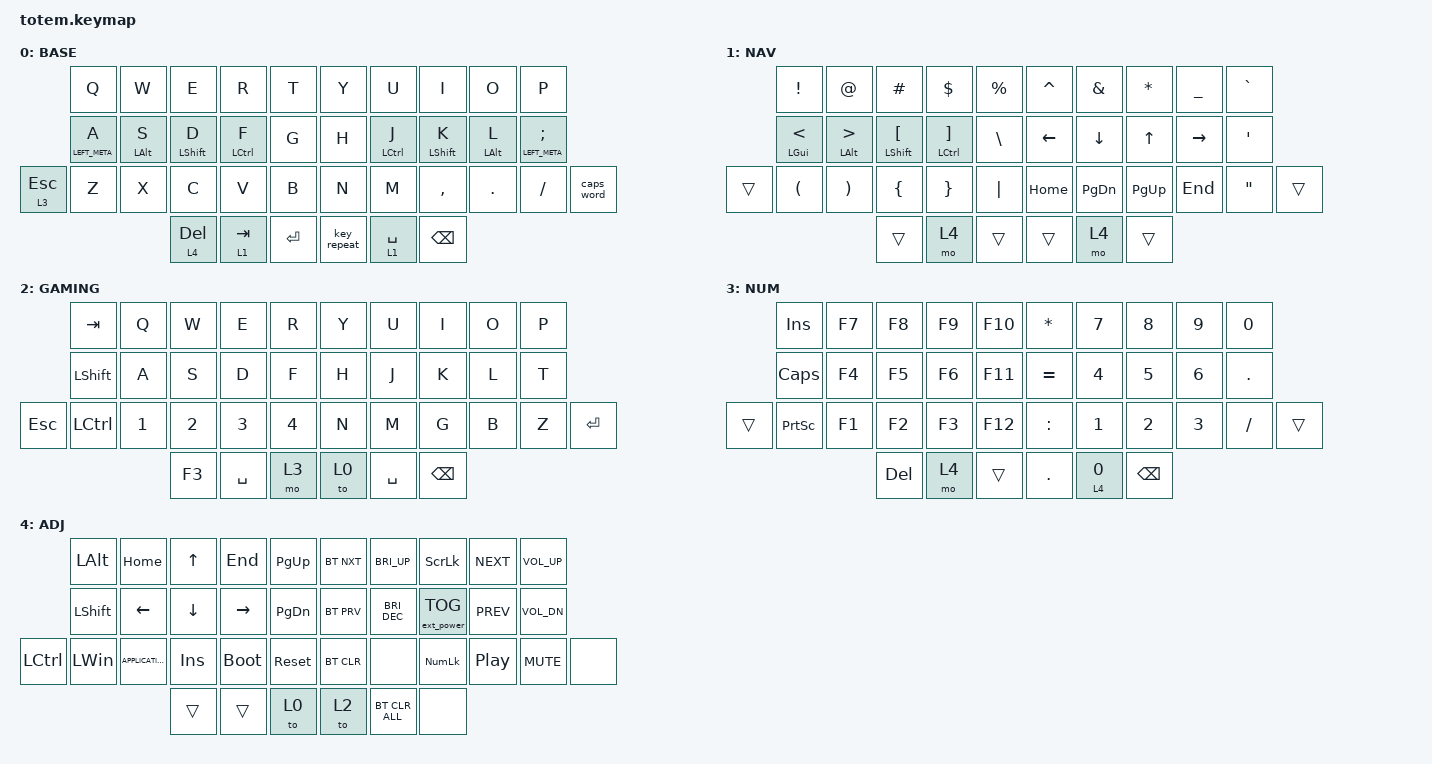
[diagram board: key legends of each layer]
//
//                                                        ▀▀▀▀▀     ▀▀▀▀▀          ▀▀█▀▀
//                                                        ▄▀▀▀▄  ▄  ▄▀▀▀▄  ▄  ▄▀▀▀▄  █  ▄▀▀▀▄
//                                                        █   █  █  █   █  █  █   █  █  █   █
//                                                         ▀▀▀   █   ▀▀▀   █   ▀▀▀   ▀   ▀▀▀
//                                                               █      ▄▄▄█▄▄▄    █   █
//                                                               ▀      █  █  █     █▄█
//                                                             ▀▀▀▀▀    █  █  █      ▀
//                                                                      ▀  ▀  ▀
//
// ▄▄▄▄▄▄▄▄▄▄▄▄▄▄▄▄▄▄▄▄▄▄▄▄▄▄▄▄▄▄▄▄▄▄▄▄▄▄▄▄▄▄▄▄▄▄▄▄▄▄▄▄▄▄▄▄▄▄▄▄▄▄▄▄▄▄▄▄▄▄▄▄▄▄▄▄▄▄▄▄▄▄▄▄▄▄▄▄▄▄▄▄▄▄▄▄▄▄▄▄▄▄▄▄▄▄▄▄▄▄▄▄▄▄▄▄▄▄▄▄▄▄▄▄▄▄▄▄▄▄▄▄▄▄▄▄▄▄▄▄▄▄▄▄▄▄▄▄▄

#include <behaviors.dtsi>
#include <dt-bindings/zmk/bt.h>
#include <dt-bindings/zmk/ext_power.h>
#include <dt-bindings/zmk/keys.h>

#define BASE 0
#define NAV  1
#define GAMING  2
#define NUM  3
#define ADJ 4

&mt {
    quick-tap-ms = <100>;
    global-quick-tap;
    flavor = "tap-preferred";
    tapping-term-ms = <170>;
};

/ {
    combos {
        compatible = "zmk,combos";

        combo_esc {
            timeout-ms = <50>;
            key-positions = <0 1>;
            bindings = <&kp ESC>;
        };

        combo_backspace {
            bindings = <&kp LC(BACKSPACE)>;
            key-positions = <9 8>;
        };

        combo_doublequotes {
            bindings = <&macro_doublequotes>;
            key-positions = <6 7>;
        };

        combo_equal {
            bindings = <&kp EQUAL>;
            key-positions = <16 17>;
        };

        combo_plus {
            bindings = <&kp PLUS>;
            key-positions = <17 18>;
        };

        combo_delend {
            bindings = <&macro_delend>;
            key-positions = <17 19>;
        };

        combo_tilde {
            bindings = <&kp LS(GRAVE)>;
            key-positions = <16 18>;
        };

        combo_dash {
            bindings = <&kp MINUS>;
            key-positions = <18 19>;
        };

        combo_loremipsum {
            bindings = <&macro_loremipsum>;
            key-positions = <4 5>;
        };

        combo_copyline {
            bindings = <&macro_copyline>;
            key-positions = <16 19>;
        };
    };

    macros {
        macro_doublequotes: test_macro {
            compatible = "zmk,behavior-macro";
            #binding-cells = <0>;
            bindings =
                <&macro_tap>,
                <&kp LC(RIGHT_ARROW)>,  // First move right to ensure we're inside or at end of word
                <&macro_tap>,
                <&kp LC(LEFT_ARROW)>,   // Then move to beginning of current word
                <&macro_tap>,
                <&kp DOUBLE_QUOTES>,    // Add opening quote
                <&macro_tap>,
                <&kp LC(RIGHT_ARROW)>,  // Move to end of word
                <&macro_tap>,
                <&kp DOUBLE_QUOTES>;    // Add closing quote
        };

        macro_copyline: copy_current_line {
            compatible = "zmk,behavior-macro";
            #binding-cells = <0>;
            bindings =
                <&macro_tap>,
                <&kp HOME>,             // Go to beginning of line
                <&macro_tap>,
                <&kp LS(END)>,          // Select to end of line
                <&macro_tap>,
                <&kp LC(C)>;            // Copy selection
        };

        macro_delend: delete_to_end_of_line {
            compatible = "zmk,behavior-macro";
            #binding-cells = <0>;
            bindings =
                <&macro_tap>,
                <&kp LS(END)>,          // Select from cursor to end of line
                <&macro_tap>,
                <&kp DELETE>;           // Delete selection
        };

        macro_loremipsum: macro_loremipsum {
            compatible = "zmk,behavior-macro";
            #binding-cells = <0>;
            bindings = <&none &kp LS(L) &kp O &kp R &kp E &kp M &kp SPACE &kp I &kp P &kp S &kp U &kp M &kp SPACE &kp D &kp O &kp L &kp O &kp R &kp SPACE &kp S &kp I &kp T &kp SPACE &kp A &kp M &kp E &kp T &kp COMMA &kp SPACE &kp C &kp O &kp N &kp S &kp E &kp C &kp T &kp E &kp T &kp U &kp R &kp SPACE &kp A &kp D &kp I &kp P &kp I &kp S &kp C &kp I &kp N &kp G &kp SPACE &kp E &kp L &kp I &kp T &kp COMMA &kp SPACE &kp S &kp E &kp D &kp SPACE &kp D &kp O &kp SPACE &kp E &kp I &kp U &kp S &kp M &kp O &kp D &kp SPACE &kp T &kp E &kp M &kp P &kp O &kp R &kp SPACE &kp I &kp N &kp C &kp I &kp D &kp I &kp D &kp U &kp N &kp T &kp SPACE &kp U &kp T &kp SPACE &kp L &kp A &kp B &kp O &kp R &kp E &kp SPACE &kp E &kp T &kp SPACE &kp D &kp O &kp L &kp O &kp R &kp E &kp SPACE &kp M &kp A &kp G &kp N &kp A &kp SPACE &kp A &kp L &kp I &kp Q &kp U &kp A &kp DOT &kp ENTER &kp LS(U) &kp T &kp SPACE &kp E &kp N &kp I &kp M &kp SPACE &kp A &kp D &kp SPACE &kp M &kp I &kp N &kp I &kp M &kp SPACE &kp V &kp E &kp N &kp I &kp A &kp M &kp COMMA &kp SPACE &kp Q &kp U &kp I &kp S &kp SPACE &kp N &kp O &kp S &kp T &kp R &kp U &kp D &kp SPACE &kp E &kp X &kp E &kp R &kp C &kp I &kp T &kp A &kp T &kp I &kp O &kp N &kp SPACE &kp U &kp L &kp L &kp A &kp M &kp C &kp O &kp SPACE &kp L &kp A &kp B &kp O &kp R &kp I &kp S &kp SPACE &kp N &kp I &kp S &kp I &kp SPACE &kp U &kp T &kp SPACE &kp A &kp L &kp I &kp Q &kp U &kp I &kp P &kp SPACE &kp E &kp X &kp SPACE &kp E &kp A &kp SPACE &kp C &kp O &kp M &kp M &kp O &kp D &kp O &kp SPACE &kp C &kp O &kp N &kp S &kp E &kp Q &kp U &kp A &kp T &kp DOT &kp RET &kp LS(D) &kp U &kp I &kp S &kp SPACE &kp A &kp U &kp T &kp E &kp SPACE &kp I &kp R &kp U &kp R &kp E &kp SPACE &kp D &kp O &kp L &kp O &kp R &kp SPACE &kp I &kp N &kp SPACE &kp R &kp E &kp P &kp R &kp E &kp H &kp E &kp N &kp D &kp E &kp R &kp I &kp T &kp SPACE &kp I &kp N &kp SPACE &kp V &kp O &kp L &kp U &kp P &kp T &kp A &kp T &kp E &kp SPACE &kp V &kp E &kp L &kp I &kp T &kp SPACE &kp E &kp S &kp S &kp E &kp SPACE &kp C &kp I &kp L &kp L &kp U &kp M &kp SPACE &kp D &kp O &kp L &kp O &kp R &kp E &kp SPACE &kp E &kp U &kp SPACE &kp F &kp U &kp G &kp I &kp A &kp T &kp SPACE &kp N &kp U &kp L &kp L &kp A &kp SPACE &kp P &kp A &kp R &kp I &kp A &kp T &kp U &kp R &kp DOT &kp RET &kp LS(E) &kp X &kp C &kp E &kp P &kp T &kp E &kp U &kp R &kp SPACE &kp S &kp I &kp N &kp T &kp SPACE &kp O &kp C &kp C &kp A &kp E &kp C &kp A &kp T &kp SPACE &kp C &kp U &kp P &kp I &kp D &kp A &kp T &kp A &kp T &kp SPACE &kp N &kp O &kp N &kp SPACE &kp P &kp R &kp O &kp I &kp D &kp E &kp N &kp T &kp COMMA &kp SPACE &kp S &kp U &kp N &kp T &kp SPACE &kp I &kp N &kp SPACE &kp C &kp U &kp L &kp P &kp A &kp SPACE &kp Q &kp U &kp I &kp SPACE &kp O &kp F &kp F &kp I &kp C &kp I &kp A &kp SPACE &kp D &kp E &kp S &kp E &kp R &kp U &kp N &kp T &kp SPACE &kp M &kp O &kp L &kp L &kp I &kp T &kp SPACE &kp A &kp N &kp I &kp M &kp SPACE &kp I &kp D &kp SPACE &kp E &kp S &kp T &kp SPACE &kp L &kp A &kp B &kp O &kp R &kp U &kp M &kp DOT &kp RET>;
            label = "MACRO_LOREMIPSUM";
        };
    };

    keymap {
        compatible = "zmk,keymap";

        // ▄▄▄▄▄▄▄▄▄▄▄▄▄▄▄▄▄▄▄▄▄▄▄▄▄▄▄▄▄▄▄▄▄▄▄▄▄▄▄▄▄▄▄▄▄▄▄▄▄▄▄▄▄▄▄▄▄▄▄▄▄▄▄▄▄▄▄▄▄▄▄▄▄▄▄▄▄▄▄▄▄▄▄▄▄▄▄▄▄▄▄▄▄▄▄▄▄▄▄▄▄▄▄▄▄▄▄▄▄▄▄▄▄▄▄▄▄▄▄▄▄▄▄▄▄▄▄▄▄▄▄▄▄▄▄▄▄▄▄▄▄▄▄▄▄▄▄▄▄

        base_layer {
            // ┏━━━━━━━━━━━━━━━━━━━━━━━━━━━━━━━━━━━━━━━┓

            display-name = "BASE";

            // ┗━━━━━━━━━━━━━━━━━━━━━━━━━━━━━━━━━━━━━━━┛
            //             ┏━━━━━━━━━━━┳━━━━━━━━━━━┳━━━━━━━━━━━┳━━━━━━━━━━━┳━━━━━━━━━━━┓   ┏━━━━━━━━━━━┳━━━━━━━━━━━┳━━━━━━━━━━━┳━━━━━━━━━━━┳━━━━━━━━━━━┓
            //             ┃     Q     ┃     W     ┃     E     ┃     R     ┃     T     ┃   ┃     Y     ┃     U     ┃     I     ┃     O     ┃     P     ┃
            //             ┣━━━━━━━━━━━╋━━━━━━━━━━━╋━━━━━━━━━━━╋━━━━━━━━━━━╋━━━━━━━━━━━┫   ┣━━━━━━━━━━━╋━━━━━━━━━━━╋━━━━━━━━━━━╋━━━━━━━━━━━╋━━━━━━━━━━━┫
            //             ┃     A     ┃     S     ┃     D     ┃     F     ┃     G     ┃   ┃     H     ┃     J     ┃     K     ┃     L     ┃     ;     ┃
            // ┏━━━━━━━━━━━╋━━━━━━━━━━━╋━━━━━━━━━━━╋━━━━━━━━━━━╋━━━━━━━━━━━╋━━━━━━━━━━━┫   ┣━━━━━━━━━━━╋━━━━━━━━━━━╋━━━━━━━━━━━╋━━━━━━━━━━━╋━━━━━━━━━━━╋━━━━━━━━━━━┓
            // ┃  to 3/esc ┃     Z     ┃     X     ┃     C     ┃     V     ┃     B     ┃   ┃     N     ┃     M     ┃     ,     ┃     .     ┃     /     ┃ CAPS WORD ┃
            // ┗━━━━━━━━━━━┻━━━━━━━━━━━┻━━━━━━━━━━━╋━━━━━━━━━━━╋━━━━━━━━━━━╋━━━━━━━━━━━┫   ┣━━━━━━━━━━━╋━━━━━━━━━━━╋━━━━━━━━━━━╋━━━━━━━━━━━┻━━━━━━━━━━━┻━━━━━━━━━━━┛
            //                                     ┃    DEL    ┃    TAB    ┃    ENT    ┃   ┃   REPEAT  ┃   SPACE   ┃ BACKSPACE ┃
            //                                     ┗━━━━━━━━━━━┻━━━━━━━━━━━┻━━━━━━━━━━━┛   ┗━━━━━━━━━━━┻━━━━━━━━━━━┻━━━━━━━━━━━┛

            bindings = <
              &kp Q            &kp W           &kp E             &kp R        &kp T        &kp Y        &kp U        &kp I             &kp O           &kp P
              &mt LEFT_META A  &mt LEFT_ALT S  &mt LEFT_SHIFT D  &mt LCTRL F  &kp G        &kp H        &mt LCTRL J  &mt LEFT_SHIFT K  &mt LEFT_ALT L  &mt LEFT_META SEMICOLON
&lt 3 ESCAPE  &kp Z            &kp X           &kp C             &kp V        &kp B        &kp N        &kp M        &kp COMMA         &kp DOT         &kp FSLH                 &caps_word
                                               &lt 4 DEL         &lt 1 TAB    &kp ENTER    &key_repeat  &lt 1 SPACE  &kp BSPC
            >;
        };

        // ▄▄▄▄▄▄▄▄▄▄▄▄▄▄▄▄▄▄▄▄▄▄▄▄▄▄▄▄▄▄▄▄▄▄▄▄▄▄▄▄▄▄▄▄▄▄▄▄▄▄▄▄▄▄▄▄▄▄▄▄▄▄▄▄▄▄▄▄▄▄▄▄▄▄▄▄▄▄▄▄▄▄▄▄▄▄▄▄▄▄▄▄▄▄▄▄▄▄▄▄▄▄▄▄▄▄▄▄▄▄▄▄▄▄▄▄▄▄▄▄▄▄▄▄▄▄▄▄▄▄▄▄▄▄▄▄▄▄▄▄▄▄▄▄▄▄▄▄▄

        nav_layer {
            // ┏━━━━━━━━━━━━━━━━━━━━━━━━━━━━━━━━━━━━━━━┓

            display-name = "NAV";

            // ┗━━━━━━━━━━━━━━━━━━━━━━━━━━━━━━━━━━━━━━━┛
            //             ┏━━━━━━━━━━━┳━━━━━━━━━━━┳━━━━━━━━━━━┳━━━━━━━━━━━┳━━━━━━━━━━━┓   ┏━━━━━━━━━━━┳━━━━━━━━━━━┳━━━━━━━━━━━┳━━━━━━━━━━━┳━━━━━━━━━━━┓
            //             ┃     !     ┃     @     ┃     #     ┃     $     ┃     %     ┃   ┃     ˆ     ┃     &     ┃     *     ┃     _     ┃     `     ┃
            //             ┣━━━━━━━━━━━╋━━━━━━━━━━━╋━━━━━━━━━━━╋━━━━━━━━━━━╋━━━━━━━━━━━┫   ┣━━━━━━━━━━━╋━━━━━━━━━━━╋━━━━━━━━━━━╋━━━━━━━━━━━╋━━━━━━━━━━━┫
            //             ┃     <     ┃     >     ┃    [      ┃    ]      ┃     \     ┃   ┃   LEFT    ┃   DOWN    ┃    UP     ┃   RIGHT   ┃     '     ┃
            // ┏━━━━━━━━━━━╋━━━━━━━━━━━╋━━━━━━━━━━━╋━━━━━━━━━━━╋━━━━━━━━━━━╋━━━━━━━━━━━┫   ┣━━━━━━━━━━━╋━━━━━━━━━━━╋━━━━━━━━━━━╋━━━━━━━━━━━╋━━━━━━━━━━━╋━━━━━━━━━━━┓
            // ┃           ┃     (     ┃     )     ┃    {      ┃    }      ┃     |     ┃   ┃   HOME    ┃   PG DN   ┃   PG UP   ┃    END    ┃     '     ┃           ┃
            // ┗━━━━━━━━━━━┻━━━━━━━━━━━┻━━━━━━━━━━━╋━━━━━━━━━━━╋━━━━━━━━━━━╋━━━━━━━━━━━┫   ┣━━━━━━━━━━━╋━━━━━━━━━━━╋━━━━━━━━━━━╋━━━━━━━━━━━┻━━━━━━━━━━━┻━━━━━━━━━━━┛
            //                                     ┃           ┃           ┃           ┃   ┃           ┃    ADJ    ┃           ┃
            //                                     ┗━━━━━━━━━━━┻━━━━━━━━━━━┻━━━━━━━━━━━┛   ┗━━━━━━━━━━━┻━━━━━━━━━━━┻━━━━━━━━━━━┛

            bindings = <
        &kp EXCL                &kp AT                     &kp HASH                     &kp DOLLAR               &kp PERCENT    &kp CARET  &kp AMPS   &kp STAR   &kp UNDER  &kp GRAVE
        &mt LEFT_GUI LESS_THAN  &mt LEFT_ALT GREATER_THAN  &mt LEFT_SHIFT LEFT_BRACKET  &mt LCTRL RIGHT_BRACKET  &kp BSLH       &kp LEFT   &kp DOWN   &kp UP     &kp RIGHT  &kp SINGLE_QUOTE
&trans  &kp LEFT_PARENTHESIS    &kp RIGHT_PARENTHESIS      &kp LEFT_BRACE               &kp RIGHT_BRACE          &kp PIPE       &kp HOME   &kp PG_DN  &kp PG_UP  &kp END    &kp DOUBLE_QUOTES  &trans
                                                           &trans                       &mo 4                    &trans         &trans     &mo 4      &trans
            >;
        };

        // ▄▄▄▄▄▄▄▄▄▄▄▄▄▄▄▄▄▄▄▄▄▄▄▄▄▄▄▄▄▄▄▄▄▄▄▄▄▄▄▄▄▄▄▄▄▄▄▄▄▄▄▄▄▄▄▄▄▄▄▄▄▄▄▄▄▄▄▄▄▄▄▄▄▄▄▄▄▄▄▄▄▄▄▄▄▄▄▄▄▄▄▄▄▄▄▄▄▄▄▄▄▄▄▄▄▄▄▄▄▄▄▄▄▄▄▄▄▄▄▄▄▄▄▄▄▄▄▄▄▄▄▄▄▄▄▄▄▄▄▄▄▄▄▄▄▄▄▄▄

        gaming_layer {
            // ┏━━━━━━━━━━━━━━━━━━━━━━━━━━━━━━━━━━━━━━━┓

            display-name = "GAMING";

            // ┗━━━━━━━━━━━━━━━━━━━━━━━━━━━━━━━━━━━━━━━┛
            //             ┏━━━━━━━━━━━┳━━━━━━━━━━━┳━━━━━━━━━━━┳━━━━━━━━━━━┳━━━━━━━━━━━┓   ┏━━━━━━━━━━━┳━━━━━━━━━━━┳━━━━━━━━━━━┳━━━━━━━━━━━┳━━━━━━━━━━━┓
            //             ┃    TAB    ┃     Q     ┃     W     ┃     E     ┃     R     ┃   ┃     Y     ┃     U     ┃     I     ┃     O     ┃     P     ┃
            //             ┣━━━━━━━━━━━╋━━━━━━━━━━━╋━━━━━━━━━━━╋━━━━━━━━━━━╋━━━━━━━━━━━┫   ┣━━━━━━━━━━━╋━━━━━━━━━━━╋━━━━━━━━━━━╋━━━━━━━━━━━╋━━━━━━━━━━━┫
            //             ┃   SHIFT   ┃     A     ┃     S     ┃     D     ┃     F     ┃   ┃     H     ┃     J     ┃     K     ┃     L     ┃     T     ┃
            // ┏━━━━━━━━━━━╋━━━━━━━━━━━╋━━━━━━━━━━━╋━━━━━━━━━━━╋━━━━━━━━━━━╋━━━━━━━━━━━┫   ┣━━━━━━━━━━━╋━━━━━━━━━━━╋━━━━━━━━━━━╋━━━━━━━━━━━╋━━━━━━━━━━━╋━━━━━━━━━━━┓
            // ┃    ESC    ┃    CTRL   ┃     1     ┃     2     ┃     3     ┃     4     ┃   ┃     N     ┃     M     ┃     G     ┃     B     ┃     Z     ┃   ENTER   ┃
            // ┗━━━━━━━━━━━┻━━━━━━━━━━━┻━━━━━━━━━━━╋━━━━━━━━━━━╋━━━━━━━━━━━╋━━━━━━━━━━━┫   ┣━━━━━━━━━━━╋━━━━━━━━━━━╋━━━━━━━━━━━╋━━━━━━━━━━━┻━━━━━━━━━━━┻━━━━━━━━━━━┛
            //                                     ┃     F3    ┃   SPACE   ┃    NUM    ┃   ┃   BASE    ┃   SPACE   ┃ BACKSPACE ┃
            //                                     ┗━━━━━━━━━━━┻━━━━━━━━━━━┻━━━━━━━━━━━┛   ┗━━━━━━━━━━━┻━━━━━━━━━━━┻━━━━━━━━━━━┛

            bindings = <
            &kp TAB         &kp Q   &kp W   &kp E      &kp R     &kp Y  &kp U      &kp I          &kp O  &kp P
            &kp LEFT_SHIFT  &kp A   &kp S   &kp D      &kp F     &kp H  &kp J      &kp K          &kp L  &kp T
&kp ESCAPE  &kp LCTRL       &kp N1  &kp N2  &kp N3     &kp N4    &kp N  &kp M      &kp G          &kp B  &kp Z  &kp ENTER
                                    &kp F3  &kp SPACE  &mo 3     &to 0  &kp SPACE  &kp BACKSPACE
            >;
        };

        // ▄▄▄▄▄▄▄▄▄▄▄▄▄▄▄▄▄▄▄▄▄▄▄▄▄▄▄▄▄▄▄▄▄▄▄▄▄▄▄▄▄▄▄▄▄▄▄▄▄▄▄▄▄▄▄▄▄▄▄▄▄▄▄▄▄▄▄▄▄▄▄▄▄▄▄▄▄▄▄▄▄▄▄▄▄▄▄▄▄▄▄▄▄▄▄▄▄▄▄▄▄▄▄▄▄▄▄▄▄▄▄▄▄▄▄▄▄▄▄▄▄▄▄▄▄▄▄▄▄▄▄▄▄▄▄▄▄▄▄▄▄▄▄▄▄▄▄▄▄

        number_layer {
            // ┏━━━━━━━━━━━━━━━━━━━━━━━━━━━━━━━━━━━━━━━┓

            display-name = "NUM";

            // ┗━━━━━━━━━━━━━━━━━━━━━━━━━━━━━━━━━━━━━━━┛
            //             ┏━━━━━━━━━━━┳━━━━━━━━━━━┳━━━━━━━━━━━┳━━━━━━━━━━━┳━━━━━━━━━━━┓   ┏━━━━━━━━━━━┳━━━━━━━━━━━┳━━━━━━━━━━━┳━━━━━━━━━━━┳━━━━━━━━━━━┓
            //             ┃   INSERT  ┃    F7     ┃    F8     ┃    F9     ┃    F10    ┃   ┃     *     ┃     7     ┃     8     ┃     9     ┃     0     ┃
            //             ┣━━━━━━━━━━━╋━━━━━━━━━━━╋━━━━━━━━━━━╋━━━━━━━━━━━╋━━━━━━━━━━━┫   ┣━━━━━━━━━━━╋━━━━━━━━━━━╋━━━━━━━━━━━╋━━━━━━━━━━━╋━━━━━━━━━━━┫
            //             ┃ CAPSLOCK  ┃    F4     ┃    F5     ┃    F6     ┃    F11    ┃   ┃     =     ┃     4     ┃     5     ┃     6     ┃     .     ┃
            // ┏━━━━━━━━━━━╋━━━━━━━━━━━╋━━━━━━━━━━━╋━━━━━━━━━━━╋━━━━━━━━━━━╋━━━━━━━━━━━┫   ┣━━━━━━━━━━━╋━━━━━━━━━━━╋━━━━━━━━━━━╋━━━━━━━━━━━╋━━━━━━━━━━━╋━━━━━━━━━━━┓
            // ┃           ┃PRINTSCREEN┃    F1     ┃    F2     ┃    F3     ┃    F12    ┃   ┃     :     ┃     1     ┃     2     ┃     3     ┃     /     ┃           ┃
            // ┗━━━━━━━━━━━┻━━━━━━━━━━━┻━━━━━━━━━━━╋━━━━━━━━━━━╋━━━━━━━━━━━╋━━━━━━━━━━━┫   ┣━━━━━━━━━━━╋━━━━━━━━━━━╋━━━━━━━━━━━╋━━━━━━━━━━━┻━━━━━━━━━━━┻━━━━━━━━━━━┛
            //                                     ┃   DEL     ┃    ADJ    ┃   GAMING  ┃   ┃     .     ┃     0     ┃ BACKSPACE ┃
            //                                     ┗━━━━━━━━━━━┻━━━━━━━━━━━┻━━━━━━━━━━━┛   ┗━━━━━━━━━━━┻━━━━━━━━━━━┻━━━━━━━━━━━┛

            bindings = <
        &kp INSERT       &kp F7  &kp F8      &kp F9  &kp F10    &kp STAR   &kp N7    &kp N8         &kp N9  &kp N0
        &kp CAPS         &kp F4  &kp F5      &kp F6  &kp F11    &kp EQUAL  &kp N4    &kp N5         &kp N6  &kp DOT
&trans  &kp PRINTSCREEN  &kp F1  &kp F2      &kp F3  &kp F12    &kp COLON  &kp N1    &kp N2         &kp N3  &kp FSLH   &trans
                                 &kp DELETE  &mo 4   &trans     &kp DOT    &lt 4 N0  &kp BACKSPACE
            >;
        };

        // ▄▄▄▄▄▄▄▄▄▄▄▄▄▄▄▄▄▄▄▄▄▄▄▄▄▄▄▄▄▄▄▄▄▄▄▄▄▄▄▄▄▄▄▄▄▄▄▄▄▄▄▄▄▄▄▄▄▄▄▄▄▄▄▄▄▄▄▄▄▄▄▄▄▄▄▄▄▄▄▄▄▄▄▄▄▄▄▄▄▄▄▄▄▄▄▄▄▄▄▄▄▄▄▄▄▄▄▄▄▄▄▄▄▄▄▄▄▄▄▄▄▄▄▄▄▄▄▄▄▄▄▄▄▄▄▄▄▄▄▄▄▄▄▄▄▄▄▄▄

        adjust_layer {
            // ┏━━━━━━━━━━━━━━━━━━━━━━━━━━━━━━━━━━━━━━━┓

            display-name = "ADJ";

            // ┗━━━━━━━━━━━━━━━━━━━━━━━━━━━━━━━━━━━━━━━┛
            //             ┏━━━━━━━━━━━┳━━━━━━━━━━━┳━━━━━━━━━━━┳━━━━━━━━━━━┳━━━━━━━━━━━┓   ┏━━━━━━━━━━━┳━━━━━━━━━━━┳━━━━━━━━━━━┳━━━━━━━━━━━┳━━━━━━━━━━━┓
            //             ┃    ALT    ┃   HOME    ┃     UP    ┃    END    ┃   PG UP   ┃   ┃  BT NEXT  ┃  BRI UP   ┃ SCROLLLOCK┃ NEXT TRACK┃  VOL UP   ┃
            //             ┣━━━━━━━━━━━╋━━━━━━━━━━━╋━━━━━━━━━━━╋━━━━━━━━━━━╋━━━━━━━━━━━┫   ┣━━━━━━━━━━━╋━━━━━━━━━━━╋━━━━━━━━━━━╋━━━━━━━━━━━╋━━━━━━━━━━━┫
            //             ┃   SHIFT   ┃   LEFT    ┃    DOWN   ┃   RIGHT   ┃   PG DN   ┃   ┃  BT PREV  ┃  BRI DN   ┃EXT PWR TOG┃ PREV TRACK┃  VOL DOWN ┃
            // ┏━━━━━━━━━━━╋━━━━━━━━━━━╋━━━━━━━━━━━╋━━━━━━━━━━━╋━━━━━━━━━━━╋━━━━━━━━━━━┫   ┣━━━━━━━━━━━╋━━━━━━━━━━━╋━━━━━━━━━━━╋━━━━━━━━━━━╋━━━━━━━━━━━╋━━━━━━━━━━━┓
            // ┃   CTRL    ┃   META    ┃    APP    ┃    INS    ┃ BOOTLOADER┃  RESET    ┃   ┃  BT CLEAR ┃           ┃  NUMLOCK  ┃ PLAY/PAUSE┃   MUTE    ┃           ┃
            // ┗━━━━━━━━━━━┻━━━━━━━━━━━┻━━━━━━━━━━━╋━━━━━━━━━━━╋━━━━━━━━━━━╋━━━━━━━━━━━┫   ┣━━━━━━━━━━━╋━━━━━━━━━━━╋━━━━━━━━━━━╋━━━━━━━━━━━┻━━━━━━━━━━━┻━━━━━━━━━━━┛
            //                                     ┃           ┃           ┃    BASE   ┃   ┃   GAMING  ┃BT CLEARALL┃           ┃
            //                                     ┗━━━━━━━━━━━┻━━━━━━━━━━━┻━━━━━━━━━━━┛   ┗━━━━━━━━━━━┻━━━━━━━━━━━┻━━━━━━━━━━━┛

            bindings = <
           &kp LEFT_ALT    &kp HOME           &kp UP_ARROW    &kp END      &kp PG_UP        &bt BT_NXT  &kp C_BRI_UP    &kp SCROLLLOCK     &kp C_NEXT        &kp C_VOLUME_UP
           &kp LEFT_SHIFT  &kp LEFT_ARROW     &kp DOWN_ARROW  &kp RIGHT    &kp PAGE_DOWN    &bt BT_PRV  &kp C_BRI_DEC   &ext_power EP_TOG  &kp C_PREV        &kp C_VOL_DN
&kp LCTRL  &kp LEFT_WIN    &kp K_APPLICATION  &kp INSERT      &bootloader  &sys_reset       &bt BT_CLR  &none           &kp KP_NUMLOCK     &kp C_PLAY_PAUSE  &kp C_MUTE       &none
                                              &trans          &trans       &to 0            &to 2       &bt BT_CLR_ALL  &none
            >;
        };

        // ▄▄▄▄▄▄▄▄▄▄▄▄▄▄▄▄▄▄▄▄▄▄▄▄▄▄▄▄▄▄▄▄▄▄▄▄▄▄▄▄▄▄▄▄▄▄▄▄▄▄▄▄▄▄▄▄▄▄▄▄▄▄▄▄▄▄▄▄▄▄▄▄▄▄▄▄▄▄▄▄▄▄▄▄▄▄▄▄▄▄▄▄▄▄▄▄▄▄▄▄▄▄▄▄▄▄▄▄▄▄▄▄▄▄▄▄▄▄▄▄▄▄▄▄▄▄▄▄▄▄▄▄▄▄▄▄▄▄▄▄▄▄▄▄▄▄▄▄▄
    };
};

//|------------------------|------------------------|
//| LEFT_HAND_KEYS         |        RIGHT_HAND_KEYS |
//|                        |                        |
//|     0  1  2  3  4      |       5  6  7  8  9    |
//|    10 11 12 13 14      |      15 16 17 18 19    |
//| 20 21 22 23 24 25      |      26 27 28 29 30 31 |
//|          32 33 34      |      35 36 37          |
//|------------------------|------------------------|
//       ___________________________________
//      |  0  1  2  3  4  |   5  6  7  8  9 |
//   ___| 10 11 12 13 14  |  15 16 17 18 19 |__
//  |  20 21 22 23 24 25  |  26 27 28 29 30 31 |
//  -------------------------------------------
//            | 32 33 34  |  35 36 37 |
//             -----------------------
// from https://github.com/skkrhdnr/totem_flat/blob/master/config/totem.keymap
